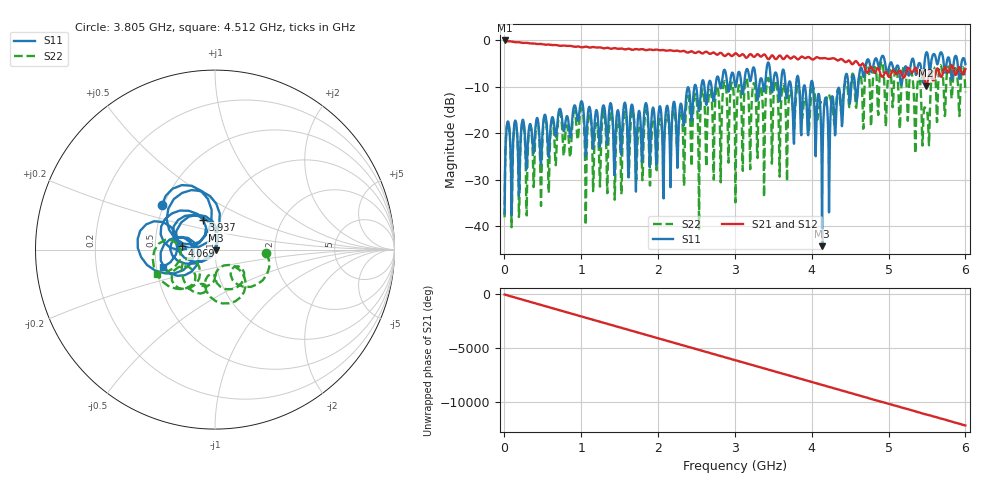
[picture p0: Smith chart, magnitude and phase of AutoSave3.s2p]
!Agilent N9923A: A.05.17
!Date: Sunday, 01 January 2006 12:52:13
!Model: N9923A
!Serial: MY50371189
!CHECKSUM:0191809894
!Correction: S11(OFF)S21(ON U)S12(OFF)S22(OFF)
!S2P File: Measurements:S11,S21,S12,S22:
# Hz S DB R 50
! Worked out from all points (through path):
!   1001 points, 2 MHz to 6 GHz, reference 50 ohm
!   highest |S21| = -0.07 dB at 2 MHz (marker M1); lowest = -9.8 dB at 5.49 GHz (marker M2)
!   group delay of S21, straight-line fit = 5.66 ns
!   lowest |S11| = -44.3 dB at 4.135 GHz (marker M3), VSWR 1.01, Z = 50.4 - j0.49 ohm
!   |S11| at or under -10 dB: start of sweep to 2.473 GHz; 3.911 GHz to 3.984 GHz (73.04 MHz wide, 1.85 % of centre); 4.018 GHz to 4.424 GHz (405.9 MHz wide, 9.62 % of centre) (the widest 3 of 19)
!   |S22| runs from -40.6 to -4.6 dB; largest |S21 - S12| = 0.0062
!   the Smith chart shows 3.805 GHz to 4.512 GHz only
!   S11 on the Smith chart (normalised r, x): 3.805 GHz: 0.49, +0.28; 3.937 GHz: 0.83, +0.28; 4.069 GHz: 0.69, +0.03; 4.512 GHz: 0.54, -0.12
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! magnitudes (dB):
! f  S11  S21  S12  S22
! 2 MHz  -37.3  -0.1  -0.1  -38.1
! 43.99 MHz  -17.5  -0.3  -0.3  -17.6
! 289.9 MHz  -27.6  -0.6  -0.6  -37.7
! 1.004 GHz  -13.1  -1.5  -1.5  -14.5
! 1.058 GHz  -25.0  -1.4  -1.4  -39.8
! 2.005 GHz  -15.9  -2.1  -2.1  -19.1
! 2.863 GHz  -6.4  -3.4  -3.4  -8.8
! 3.001 GHz  -9.6  -2.9  -2.9  -21.0
! 3.151 GHz  -6.3  -3.8  -3.8  -8.2
! 3.373 GHz  -10.6  -3.1  -3.1  -21.0
! 3.433 GHz  -4.8  -4.1  -4.1  -8.1
! 3.583 GHz  -13.1  -3.3  -3.3  -29.4
! 3.805 GHz  -8.3  -4.0  -4.0  -10.8
! 3.937 GHz  -15.0  -3.7  -3.7  -14.6
! 4.003 GHz  -8.8  -4.1  -4.1  -10.8
! 4.069 GHz  -14.6  -3.7  -3.6  -17.2
! 4.135 GHz  -44.3  -3.9  -3.9  -13.3
! 4.512 GHz  -10.4  -5.0  -4.9  -9.1
! 5.004 GHz  -5.9  -7.9  -7.9  -6.7
! 5.49 GHz  -2.7  -9.8  -9.8  -14.8
! 5.58 GHz  -3.1  -8.7  -8.6  -5.9
! 6 GHz  -5.2  -6.2  -6.1  -11.2
